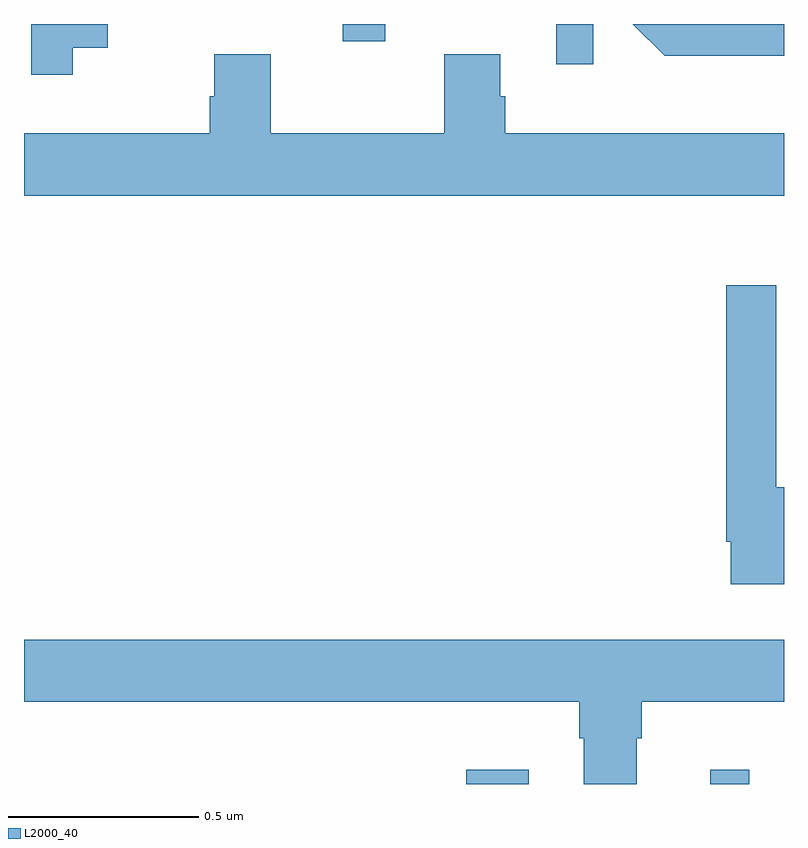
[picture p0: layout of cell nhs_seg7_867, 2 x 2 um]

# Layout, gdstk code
import gdstk
lib = gdstk.Library(unit=1e-6, precision=1e-09)
def R(c, l, rs):  # rectangles x0, y0, x1, y1
    for r in rs: c.add(gdstk.rectangle(r[:2], r[2:], *l))
def P(c, l, *ps):  # polygons
    for p in ps: c.add(gdstk.Polygon(p, *l))
L2000_40 = (2000, 40)

nhs_seg7_867 = lib.new_cell('nhs_seg7_867')
R(nhs_seg7_867, L2000_40, [(123.164,1067,123.328,1067.038), (123.806,1067,123.908,1067.038), (123.401,1068.894,123.498,1069), (122.839,1068.954,122.95,1069)])
P(nhs_seg7_867, L2000_40, [(124,1069),(123.602,1069),(123.686,1068.917),(124,1068.917)],
  [(122.128,1068.937),(122.22,1068.937),(122.22,1069),(122.019,1069),(122.019,1068.867),(122.128,1068.867)],
  [(124,1068.712),(123.266,1068.712),(123.266,1068.81),(123.253,1068.81),(123.253,1068.92),(123.106,1068.92),(123.106,1068.712),(122.649,1068.712),(122.649,1068.92),(122.501,1068.92),(122.501,1068.81),(122.489,1068.81),(122.489,1068.712),(122,1068.712),(122,1068.548),(124,1068.548)],
  [(124,1067.781),(123.979,1067.781),(123.979,1068.313),(123.848,1068.313),(123.848,1067.638),(123.86,1067.638),(123.86,1067.526),(124,1067.526)],
  [(123.613,1067.12),(123.626,1067.12),(123.626,1067.216),(124,1067.216),(124,1067.38),(122,1067.38),(122,1067.216),(123.461,1067.216),(123.461,1067.12),(123.473,1067.12),(123.473,1067),(123.613,1067)])

lib.write_gds('nhs_seg7_867.gds')
